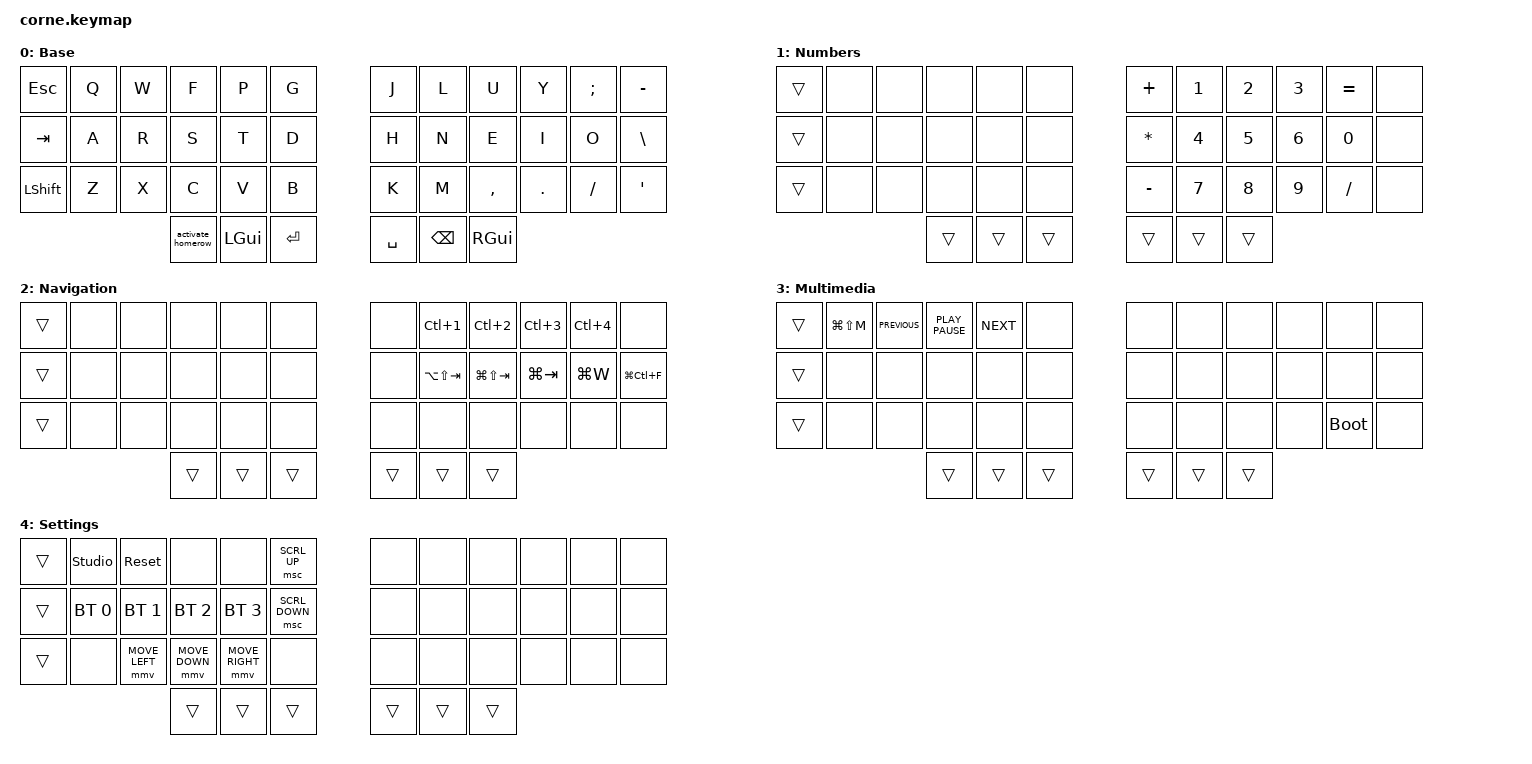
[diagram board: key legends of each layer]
#include <behaviors.dtsi>
#include <dt-bindings/zmk/bt.h>
#include <dt-bindings/zmk/keys.h>
#include <dt-bindings/zmk/pointing.h>

#define DEF 0
#define NAV 1
#define SYM 2
#define ADJ 3
#define EXTRA 4

/ {
    behaviors {
        hm: homerow_mods {
            compatible = "zmk,behavior-hold-tap";
            #binding-cells = <2>;
            tapping-term-ms = <200>;
            flavor = "tap-preferred";
            bindings = <&kp>, <&kp>;

            quick-tap-ms = <180>;
            require-prior-idle-ms = <120>; /* tune to taste */
        };

        activate_homerow: activate_homerow {
            compatible = "zmk,behavior-tap-dance";
            label = "ACTIVATE_HOMEROW";
            #binding-cells = <0>;
            bindings = <&kp LEFT_CONTROL>, <&kp LC(LEFT_GUI)>;
        };
    };

    combos {
        compatible = "zmk,combos";

        exclamation {
            bindings = <&kp EXCLAMATION>;
            key-positions = <1 13>;
        };

        at-sign {
            bindings = <&kp AT_SIGN>;
            key-positions = <2 14>;
        };

        hash {
            bindings = <&kp HASH>;
            key-positions = <3 15>;
            layers = <0>;
        };

        dollar {
            bindings = <&kp DOLLAR>;
            key-positions = <4 16>;
            layers = <0>;
        };

        percent {
            bindings = <&kp PERCENT>;
            key-positions = <5 17>;
            layers = <0>;
        };

        caret {
            bindings = <&kp CARET>;
            key-positions = <13 25>;
            layers = <0>;
        };

        ampersand {
            bindings = <&kp AMPERSAND>;
            key-positions = <26 14>;
            layers = <0>;
        };

        star {
            bindings = <&kp STAR>;
            key-positions = <27 15>;
            layers = <0>;
        };

        left-par {
            bindings = <&kp LEFT_PARENTHESIS>;
            key-positions = <16 28>;
            layers = <0>;
        };

        right-par {
            bindings = <&kp RIGHT_PARENTHESIS>;
            key-positions = <17 29>;
            layers = <0>;
        };

        minus {
            bindings = <&kp KP_MINUS>;
            key-positions = <19 7>;
            layers = <0>;
        };

        scroll-up {
            bindings = <&kp K_SCROLL_UP>;
            key-positions = <6 18>;
            layers = <0>;
        };

        left-brack {
            bindings = <&kp LEFT_BRACKET>;
            key-positions = <31 19>;
            layers = <0>;
        };

        right-brack {
            bindings = <&kp RIGHT_BRACKET>;
            key-positions = <32 20>;
            layers = <0>;
        };

        equal {
            bindings = <&kp EQUAL>;
            key-positions = <20 8>;
            layers = <0>;
        };

        slash {
            bindings = <&kp SLASH>;
            key-positions = <21 9>;
            layers = <0>;
        };

        backslash {
            bindings = <&kp BACKSLASH>;
            key-positions = <21 33>;
        };

        tilde {
            bindings = <&kp TILDE>;
            key-positions = <19 20>;
        };

        layer-3 {
            bindings = <&mo 3>;
            key-positions = <6 7>;
        };

        layer-4 {
            bindings = <&mo 4>;
            key-positions = <18 19>;
        };

        layer-1 {
            bindings = <&mo 1>;
            key-positions = <5 4>;
        };

        layer-2 {
            bindings = <&mo 2>;
            key-positions = <17 16>;
        };

        up {
            bindings = <&kp UP_ARROW>;
            key-positions = <2 3>;
        };

        left {
            bindings = <&kp LEFT>;
            key-positions = <14 13>;
        };

        down {
            bindings = <&kp DOWN>;
            key-positions = <14 15>;
        };

        right {
            bindings = <&kp RIGHT>;
            key-positions = <15 16>;
        };
    };

    //

    keymap {
        compatible = "zmk,keymap";

        BASE {
            display-name = "Base";

            // -----------------------------------------------------------------------------------------
            // |  Q  |  W  |  E  |  R  |  T  |   |  Y  |  U   |  I  |  O  |  P  |
            // |  A  |  S  |  D  |  F  |  G  |   |  H  |  J   |  K  |  L  |  ;  |
            // |  Z  |  X  |  C  |  V  |  B  |   |  N  |  M   |  ,  |  .  |  /  |
            // | GUI | CTRL | SHFT | LWR | SPC |   | ENT | RSE  | BKSP | ALT | ESC |

            bindings = <
&kp ESCAPE      &kp Q  &kp W  &kp F              &kp P         &kp G        &kp J      &kp L          &kp U          &kp Y    &kp SEMICOLON  &kp MINUS
&kp TAB         &kp A  &kp R  &kp S              &kp T         &kp D        &kp H      &kp N          &kp E          &kp I    &kp O          &kp BACKSLASH
&kp LEFT_SHIFT  &kp Z  &kp X  &kp C              &kp V         &kp B        &kp K      &kp M          &kp COMMA      &kp DOT  &kp FSLH       &kp SQT
                              &activate_homerow  &kp LEFT_GUI  &kp ENTER    &kp SPACE  &kp BACKSPACE  &kp RIGHT_GUI
            >;
        };

        NUM {
            display-name = "Numbers";

            // -----------------------------------------------------------------------------------------
            // |  TAB |  1  |  2  |  3  |  4  |  5  |   |  6  |  7  |  8  |  9  |  0  | BKSP |
            // | BTCLR| BT1 | BT2 | BT3 | BT4 | BT5 |   | LFT | DWN |  UP | RGT |     |      |
            // | SHFT |     |     |     |     |     |   |     |     |     |     |     |      |
            // | GUI | CTRL | SHFT | LWR | SPC |   | ENT | RSE  | BKSP | ALT | ESC |

            bindings = <
&trans  &none  &none  &none   &none   &none     &kp PLUS      &kp NUMBER_1  &kp NUMBER_2  &kp NUMBER_3  &kp EQUAL  &none
&trans  &none  &none  &none   &none   &none     &kp ASTERISK  &kp N4        &kp N5        &kp N6        &kp N0     &none
&trans  &none  &none  &none   &none   &none     &kp MINUS     &kp N7        &kp N8        &kp N9        &kp SLASH  &none
                      &trans  &trans  &trans    &trans        &trans        &trans
            >;
        };

        NAV {
            display-name = "Navigation";

            // -----------------------------------------------------------------------------------------
            // |  TAB |  !  |  @  |  #  |  $  |  %  |   |  ^  |  &  |  *  |  (  |  )  | BKSP |
            // | CTRL |     |     |     |     |     |   |  -  |  =  |  [  |  ]  |  \  |  `   |
            // | SHFT |     |     |     |     |     |   |  _  |  +  |  {  |  }  | "|" |  ~   |
            //                    | GUI |     | SPC |   | ENT |     | ALT |

            bindings = <
&trans  &none  &none  &none   &none   &none     &none   &kp LC(NUMBER_1)  &kp LC(NUMBER_2)  &kp LC(NUMBER_3)  &kp LC(NUMBER_4)  &none
&trans  &none  &none  &none   &none   &none     &none   &kp LA(LS(TAB))   &kp LG(LS(TAB))   &kp LG(TAB)       &kp LG(W)         &kp LG(LC(F))
&trans  &none  &none  &none   &none   &none     &none   &none             &none             &none             &none             &none
                      &trans  &trans  &trans    &trans  &trans            &trans
            >;
        };

        MMD {
            display-name = "Multimedia";
            bindings = <
&trans  &kp LG(LS(M))  &kp K_PREVIOUS  &kp K_PLAY_PAUSE  &kp K_NEXT  &none     &none   &none   &none   &none  &none        &none
&trans  &none          &none           &none             &none       &none     &none   &none   &none   &none  &none        &none
&trans  &none          &none           &none             &none       &none     &none   &none   &none   &none  &bootloader  &none
                                       &trans            &trans      &trans    &trans  &trans  &trans
            >;
        };

        SET {
            display-name = "Settings";
            bindings = <
&trans  &studio_unlock  &sys_reset      &none           &none            &msc SCRL_UP      &none   &none   &none   &none  &none  &none
&trans  &bt BT_SEL 0    &bt BT_SEL 1    &bt BT_SEL 2    &bt BT_SEL 3     &msc SCRL_DOWN    &none   &none   &none   &none  &none  &none
&trans  &none           &mmv MOVE_LEFT  &mmv MOVE_DOWN  &mmv MOVE_RIGHT  &none             &none   &none   &none   &none  &none  &none
                                        &trans          &trans           &trans            &trans  &trans  &trans
            >;
        };
    };
};
